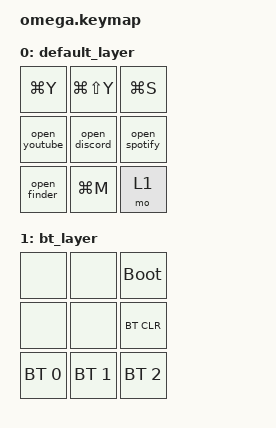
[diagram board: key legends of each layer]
#include <behaviors.dtsi>
#include <dt-bindings/zmk/keys.h>
#include <dt-bindings/zmk/bt.h>

/ {
    macros {
        open_discord: open_discord {
            compatible = "zmk,behavior-macro";
            #binding-cells = <0>;
            bindings
                = <&macro_tap &kp LG(SPACE)>
                , <&macro_wait_time 300>
                , <&macro_tap_time 10>
                , <&macro_wait_time 10>
                , <&macro_tap &kp D &kp I &kp S &kp C &kp O &kp R &kp D>
                , <&macro_wait_time 200>
                , <&macro_tap &kp ENTER>
                ;
        };

        open_youtube: open_youtube {
            compatible = "zmk,behavior-macro";
            #binding-cells = <0>;
            bindings
                = <&macro_tap &kp LG(SPACE)>
                , <&macro_wait_time 300>
                , <&macro_tap_time 10>
                , <&macro_wait_time 10>
                , <&macro_tap &kp C &kp H &kp R &kp O &kp M &kp E>
                , <&macro_wait_time 200>
                , <&macro_tap &kp ENTER>
                , <&macro_wait_time 800>
                , <&macro_tap &kp LG(T)>
                , <&macro_wait_time 200>
                , <&macro_tap_time 10>
                , <&macro_wait_time 10>
                , <&macro_tap &kp Z &kp O &kp U &kp T &kp U &kp B &kp E &kp DOT &kp C &kp O &kp M>
                , <&macro_wait_time 100>
                , <&macro_tap &kp ENTER>
                ;
        };

        open_spotify: open_spotify {
            compatible = "zmk,behavior-macro";
            #binding-cells = <0>;
            bindings
                = <&macro_tap &kp LG(SPACE)>
                , <&macro_wait_time 300>
                , <&macro_tap_time 10>
                , <&macro_wait_time 10>
                , <&macro_tap &kp S &kp P &kp O &kp T &kp I &kp F &kp Z>
                , <&macro_wait_time 200>
                , <&macro_tap &kp ENTER>
                ;
        };

        open_finder: open_finder {
            compatible = "zmk,behavior-macro";
            #binding-cells = <0>;
            bindings
                = <&macro_tap &kp LG(SPACE)>
                , <&macro_wait_time 300>
                , <&macro_tap_time 10>
                , <&macro_wait_time 10>
                , <&macro_tap &kp F &kp I &kp N &kp D &kp E &kp R>
                , <&macro_wait_time 200>
                , <&macro_tap &kp ENTER>
                ;
        };
    };

    keymap {
        compatible = "zmk,keymap";
        default_layer {
            bindings = <
                &kp LG(Y)      &kp LG(LS(Y))   &kp LG(S)
                &open_youtube  &open_discord   &open_spotify
                &open_finder   &kp LG(M)       &mo 1
            >;
        };
        bt_layer {
            bindings = <
                &none   &none   &bootloader
                &none   &none   &bt BT_CLR
                &bt BT_SEL 0    &bt BT_SEL 1    &bt BT_SEL 2
            >;
        };
    };
};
